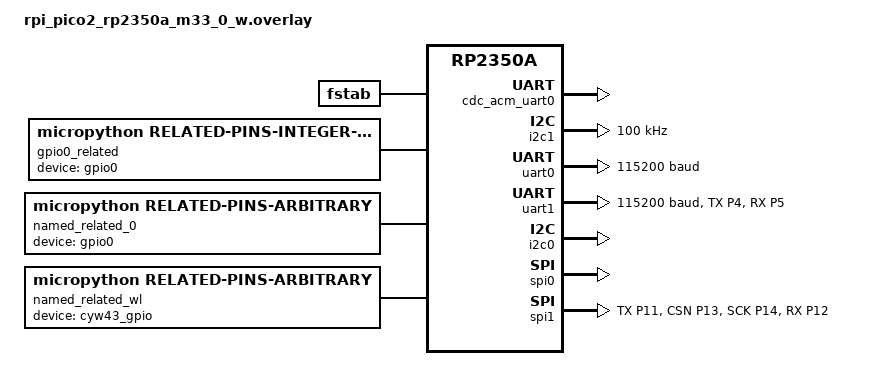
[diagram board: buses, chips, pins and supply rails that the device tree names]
/*
 * Copyright (c) 2026 MASSDRIVER EI (massdriver.space)
 *
 * SPDX-License-Identifier: Apache-2.0
 */

/ {
	chosen {
		/* Use USB CDC ACM as the console. */
		zephyr,console = &cdc_acm_uart0;
	};

	fstab {
		compatible = "zephyr,fstab";
		lfs: lfs {
			compatible = "zephyr,fstab,littlefs";
			mount-point = "/flash";
			partition = <&storage_partition>;
			read-size=<16>;
			prog-size=<256>;
			cache-size=<1024>;
			lookahead-size=<32>;
			block-cycles=<4>;
		};
	};

	gpio0_related {
		compatible = "micropython,related-pins-integer-generator";
		gpio-device = <&gpio0>;
		gpio-micropython-ranges = <0 30>;
		gpio-zephyr-ranges = <0 30>;
	};

	named_related_0 {
		compatible = "micropython,related-pins-arbitrary";
		gpio-device = <&gpio0>;
		gpio-micropython-strings = "ADC0", "ADC1", "ADC2", "ADC3";
		gpio-zephyr-ids = <26 27 28 29>;
	};

	named_related_wl {
		compatible = "micropython,related-pins-arbitrary";
		gpio-device = <&cyw43_gpio>;
		gpio-micropython-strings = "LED", "led";
		gpio-zephyr-ids = <0>, <0>;
	};
};

/delete-node/ &code_partition;
&flash0 {
	partitions {
		ranges;
		#address-cells = <1>;
		#size-cells = <1>;

		code_partition: partition@0 {
			compatible = "zephyr,mapped-partition";
			label = "code";
			reg = <0x0000000 (DT_SIZE_M(1))>;
			read-only;
		};

		storage_partition: partition@100000 {
			compatible = "zephyr,mapped-partition";
			label = "storage";
			reg = <0x00100000 DT_SIZE_M(3)>;
		};
	};
};

&zephyr_udc0 {
	cdc_acm_uart0: cdc_acm_uart0 {
		compatible = "zephyr,cdc-acm-uart";
	};
};

&i2c1 {
	clock-frequency = <I2C_BITRATE_STANDARD>;
	status = "okay";
	pinctrl-0 = <&i2c1_default>;
	pinctrl-names = "default";
};


&uart0 {
	status = "okay";
	current-speed = <115200>;
	zephyr,deferred-init;
};

&pinctrl {
	uart1_default: uart1_default {
		group1 {
			pinmux = <UART1_TX_P4>;
		};
		group2 {
			pinmux = <UART1_RX_P5>;
			input-enable;
		};
	};
};

&uart1 {
	status = "okay";
	current-speed = <115200>;
	zephyr,deferred-init;
	/* A pinctrl struct MUST have been allocated at build time to use dynamic pinctrl,
	 * but it can be nonsense if needed as the device is deferred-init
	 * and pinctrl won't be applied until device init.
	 */
	pinctrl-0 = <&uart1_default>;
	pinctrl-names = "default";

};

&i2c0 {
	status = "okay";
	zephyr,deferred-init;
};

&spi0 {
	status = "okay";
	zephyr,deferred-init;
};

&pinctrl {
	spi1_default: spi1_default {
		group1 {
			pinmux = <SPI1_TX_P11>, <SPI1_CSN_P13>, <SPI1_SCK_P14>;
		};
		group2 {
			pinmux = <SPI1_RX_P12>;
			input-enable;
		};
	};
};

&spi1 {
	status = "okay";
	zephyr,deferred-init;
	pinctrl-0 = <&spi1_default>;
	pinctrl-names = "default";
};
